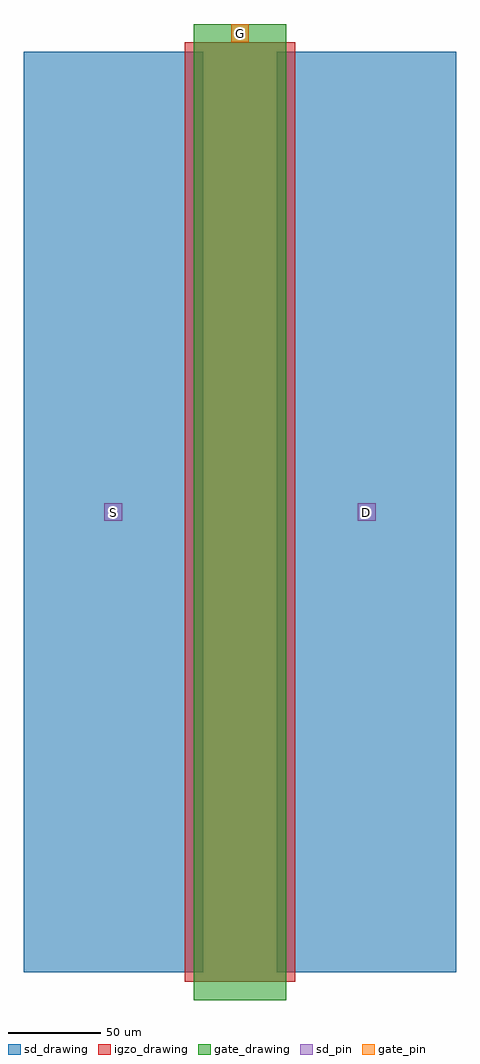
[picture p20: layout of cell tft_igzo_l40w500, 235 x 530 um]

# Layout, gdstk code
import gdstk
lib = gdstk.Library(unit=1e-6, precision=1e-09)
def R(c, l, rs):  # rectangles x0, y0, x1, y1
    for r in rs: c.add(gdstk.rectangle(r[:2], r[2:], *l))
gate_drawing = (2, 0)
gate_pin = (2, 10)
igzo_drawing = (4, 0)
sd_drawing = (6, 0)
sd_pin = (6, 10)

tft_igzo_l40w500 = lib.new_cell('tft_igzo_l40w500')
R(tft_igzo_l40w500, gate_drawing, [(-25,-265,25,265)])
R(tft_igzo_l40w500, gate_pin, [(-4.88,255.12,4.88,264.88)])
R(tft_igzo_l40w500, igzo_drawing, [(-30,-255,30,255)])
R(tft_igzo_l40w500, sd_drawing, [(-117.5,-250,-20,250), (20,-250,117.5,250)])
R(tft_igzo_l40w500, sd_pin, [(-73.63,-4.88,-63.87,4.88), (63.87,-4.88,73.63,4.88)])
tft_igzo_l40w500.add(gdstk.Label('S', (-68.75,0), layer=6, texttype=10))
tft_igzo_l40w500.add(gdstk.Label('D', (68.75,0), layer=6, texttype=10))
tft_igzo_l40w500.add(gdstk.Label('G', (0,260), layer=2, texttype=10))

lib.write_gds('tft_igzo_l40w500.gds')
